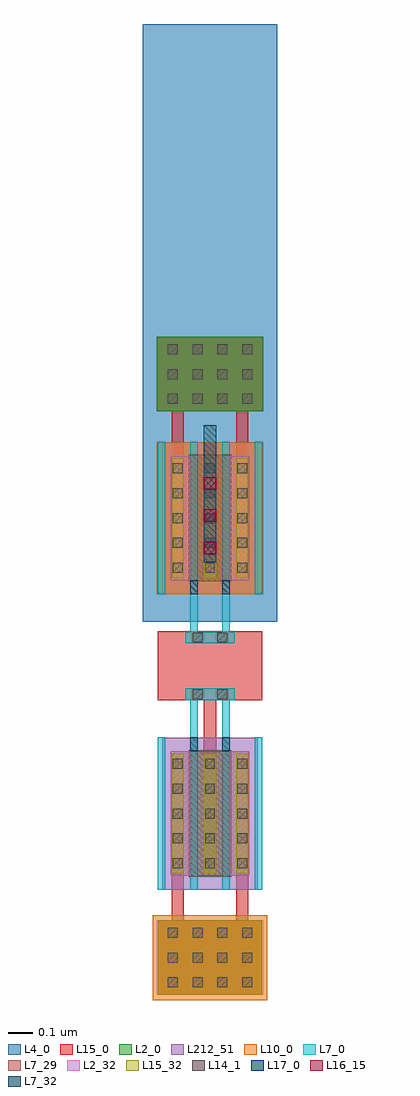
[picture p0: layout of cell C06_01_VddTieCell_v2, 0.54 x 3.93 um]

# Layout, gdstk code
import gdstk
lib = gdstk.Library(unit=1e-6, precision=1e-09)
def R(c, l, rs):  # rectangles x0, y0, x1, y1
    for r in rs: c.add(gdstk.rectangle(r[:2], r[2:], *l))
def A(c, l, x, y, w, h, nx, ny, dx, dy):  # array of equal rectangles
    R(c, l, [(x+i*dx, y+j*dy, x+i*dx+w, y+j*dy+h) for i in range(nx) for j in range(ny)])
L2_0 = (2, 0)
L2_32 = (2, 32)
L4_0 = (4, 0)
L7_0 = (7, 0)
L7_29 = (7, 29)
L7_32 = (7, 32)
L10_0 = (10, 0)
L14_1 = (14, 1)
L15_0 = (15, 0)
L15_32 = (15, 32)
L16_15 = (16, 15)
L17_0 = (17, 0)
L212_51 = (212, 51)

c06_01_vddtiecell_v2_srf = lib.new_cell('C06_01_VddTieCell_v2:SRF_TieCellNMOSRouted:SRF_Nmos:SRF_Gate_ViaM0Mx:SRF_ViaM0M1')
R(c06_01_vddtiecell_v2_srf, L7_0, [(-0.01,-0.004,0.15,0.044)])
R(c06_01_vddtiecell_v2_srf, L14_1, [(0,0,0.04,0.04), (0.1,0,0.14,0.04)])
R(c06_01_vddtiecell_v2_srf, L15_0, [(-0.021,-0.005,0.161,0.045)])

c_c06_01_vddtiecell_v2_srf = lib.new_cell('C06_01_VddTieCell_v2:SRF_TieCellNMOSRouted:SRF_Nmos:SRF_Gate_ViaM0Mx')
c_c06_01_vddtiecell_v2_srf.add(gdstk.Reference(c06_01_vddtiecell_v2_srf, (-0.07,-0.02)))

c_c06_01_vddtiecell_v2_srf_ = lib.new_cell('C06_01_VddTieCell_v2:SRF_TieCellNMOSRouted:SRF_Nmos')
R(c_c06_01_vddtiecell_v2_srf_, L2_0, [(-0.078,0.057,0.238,0.557)])
R(c_c06_01_vddtiecell_v2_srf_, L2_32, [(-0.078,0.057,0,0.557), (0.16,0.057,0.238,0.557)])
A(c_c06_01_vddtiecell_v2_srf_, L7_0, -0.13, 0, 0.03, 0.614, 4, 1, 0.13, 0)
R(c_c06_01_vddtiecell_v2_srf_, L7_0, [(0,0.614,0.03,0.764), (0.13,0.614,0.16,0.764), (-0.02,0.764,0.18,0.812)])
R(c_c06_01_vddtiecell_v2_srf_, L7_29, [(-0.005,0.052,0.165,0.562)])
R(c_c06_01_vddtiecell_v2_srf_, L7_32, [(0,0.557,0.03,0.614), (0.13,0.557,0.16,0.614)])
A(c_c06_01_vddtiecell_v2_srf_, L14_1, -0.07, 0.087, 0.04, 0.04, 3, 5, 0.13, 0.1)
R(c_c06_01_vddtiecell_v2_srf_, L15_0, [(-0.075,0.066,-0.025,0.548), (-0.075,0.066,-0.025,0.548), (0.055,0.066,0.105,0.548), (0.055,0.066,0.105,0.548), (0.185,0.066,0.235,0.548), (0.185,0.066,0.235,0.548), (-0.031,0.763,0.191,0.813)])
A(c_c06_01_vddtiecell_v2_srf_, L15_32, -0.075, 0.066, 0.05, 0.482, 3, 1, 0.13, 0)
R(c_c06_01_vddtiecell_v2_srf_, L212_51, [(-0.113,0.001,0.273,0.613)])
c_c06_01_vddtiecell_v2_srf_.add(gdstk.Reference(c_c06_01_vddtiecell_v2_srf, (0.08,0.788)))

c_c06_01_vddtiecell_v2_srf__ = lib.new_cell('C06_01_VddTieCell_v2:SRF_TieCellNMOSRouted')
c_c06_01_vddtiecell_v2_srf__.add(gdstk.Reference(c_c06_01_vddtiecell_v2_srf_, (0,0)))

c_c06_01_vddtiecell_v2_srf___ = lib.new_cell('C06_01_VddTieCell_v2:SRF_TieCellPMOSRouted:SRF_Pmos:SRF_Drain_ViaM1M2:SRF_ViaM1M2')
R(c_c06_01_vddtiecell_v2_srf___, L15_0, [(0,-0.292,0.05,0.082)])
A(c_c06_01_vddtiecell_v2_srf___, L16_15, 0, -0.26, 0.05, 0.05, 1, 3, 0, 0.13)
R(c_c06_01_vddtiecell_v2_srf___, L17_0, [(0,-0.292,0.05,0.082)])

c_c06_01_vddtiecell_v2_srf____ = lib.new_cell('C06_01_VddTieCell_v2:SRF_TieCellPMOSRouted:SRF_Pmos:SRF_Drain_ViaM1M2')
c_c06_01_vddtiecell_v2_srf____.add(gdstk.Reference(c_c06_01_vddtiecell_v2_srf___, (-0.025,0.105)))

c_c06_01_vddtiecell_v2_srf_____ = lib.new_cell('C06_01_VddTieCell_v2:SRF_TieCellPMOSRouted:SRF_Pmos:SRF_Gate_ViaM0Mx:SRF_ViaM0M1')
R(c_c06_01_vddtiecell_v2_srf_____, L7_0, [(-0.01,-0.004,0.15,0.044)])
R(c_c06_01_vddtiecell_v2_srf_____, L14_1, [(0,0,0.04,0.04), (0.1,0,0.14,0.04)])
R(c_c06_01_vddtiecell_v2_srf_____, L15_0, [(-0.021,-0.005,0.161,0.045)])

c_c06_01_vddtiecell_v2_srf______ = lib.new_cell('C06_01_VddTieCell_v2:SRF_TieCellPMOSRouted:SRF_Pmos:SRF_Gate_ViaM0Mx')
c_c06_01_vddtiecell_v2_srf______.add(gdstk.Reference(c_c06_01_vddtiecell_v2_srf_____, (-0.07,-0.02)))

c_c06_01_vddtiecell_v2_srf_______ = lib.new_cell('C06_01_VddTieCell_v2:SRF_TieCellPMOSRouted:SRF_Pmos')
R(c_c06_01_vddtiecell_v2_srf_______, L2_0, [(-0.078,0.057,0.238,0.557)])
R(c_c06_01_vddtiecell_v2_srf_______, L2_32, [(-0.078,0.057,0,0.557), (0.16,0.057,0.238,0.557)])
A(c_c06_01_vddtiecell_v2_srf_______, L7_0, -0.13, 0, 0.03, 0.614, 4, 1, 0.13, 0)
R(c_c06_01_vddtiecell_v2_srf_______, L7_0, [(-0.02,-0.198,0.18,-0.15), (0,-0.15,0.03,0), (0.13,-0.15,0.16,0)])
R(c_c06_01_vddtiecell_v2_srf_______, L7_29, [(-0.005,0.052,0.165,0.562)])
R(c_c06_01_vddtiecell_v2_srf_______, L7_32, [(0,0,0.03,0.057), (0.13,0,0.16,0.057)])
R(c_c06_01_vddtiecell_v2_srf_______, L10_0, [(-0.134,0.001,0.294,0.613)])
A(c_c06_01_vddtiecell_v2_srf_______, L14_1, -0.07, 0.087, 0.04, 0.04, 3, 5, 0.13, 0.1)
R(c_c06_01_vddtiecell_v2_srf_______, L15_0, [(-0.031,-0.199,0.191,-0.149), (-0.075,0.066,-0.025,0.548), (-0.075,0.066,-0.025,0.548), (0.055,0.066,0.105,0.548), (0.055,0.066,0.105,0.548), (0.185,0.066,0.235,0.548), (0.185,0.066,0.235,0.548)])
A(c_c06_01_vddtiecell_v2_srf_______, L15_32, -0.075, 0.066, 0.05, 0.482, 3, 1, 0.13, 0)
R(c_c06_01_vddtiecell_v2_srf_______, L17_0, [(0.055,0.13,0.105,0.63), (0.055,0.63,0.105,0.68)])
R(c_c06_01_vddtiecell_v2_srf_______, L212_51, [(-0.113,0.001,0.273,0.613)])
c_c06_01_vddtiecell_v2_srf_______.add(gdstk.Reference(c_c06_01_vddtiecell_v2_srf____, (0.08,0.317)))
c_c06_01_vddtiecell_v2_srf_______.add(gdstk.Reference(c_c06_01_vddtiecell_v2_srf______, (0.08,-0.174)))

c_c06_01_vddtiecell_v2_srf________ = lib.new_cell('C06_01_VddTieCell_v2:SRF_TieCellPMOSRouted')
c_c06_01_vddtiecell_v2_srf________.add(gdstk.Reference(c_c06_01_vddtiecell_v2_srf_______, (0,0)))

c_c06_01_vddtiecell_v2_srf_________ = lib.new_cell('C06_01_VddTieCell_v2:SRF_PMOS_Body_Contact:SRF_NbodyContactPhyLen')
R(c_c06_01_vddtiecell_v2_srf_________, L2_0, [(-0.044,-0.23,0.384,0.07)])
R(c_c06_01_vddtiecell_v2_srf_________, L4_0, [(-0.1,-0.286,0.44,0.126)])
A(c_c06_01_vddtiecell_v2_srf_________, L14_1, 0, -0.2, 0.04, 0.04, 4, 3, 0.1, 0.1)
R(c_c06_01_vddtiecell_v2_srf_________, L15_0, [(-0.044,-0.23,0.384,0.07)])

c_c06_01_vddtiecell_v2_srf__________ = lib.new_cell('C06_01_VddTieCell_v2:SRF_PMOS_Body_Contact')
c_c06_01_vddtiecell_v2_srf__________.add(gdstk.Reference(c_c06_01_vddtiecell_v2_srf_________, (0,0)))

c_c06_01_vddtiecell_v2_srf___________ = lib.new_cell('C06_01_VddTieCell_v2:SRF_NMOS_Body_Contact:SRF_PbodyContactPhyLen')
R(c_c06_01_vddtiecell_v2_srf___________, L2_0, [(-0.04,-0.23,0.38,0.07)])
R(c_c06_01_vddtiecell_v2_srf___________, L10_0, [(-0.061,-0.251,0.401,0.091)])
A(c_c06_01_vddtiecell_v2_srf___________, L14_1, 0, -0.2, 0.04, 0.04, 4, 3, 0.1, 0.1)
R(c_c06_01_vddtiecell_v2_srf___________, L15_0, [(-0.04,-0.23,0.38,0.07)])

c_c06_01_vddtiecell_v2_srf____________ = lib.new_cell('C06_01_VddTieCell_v2:SRF_NMOS_Body_Contact')
c_c06_01_vddtiecell_v2_srf____________.add(gdstk.Reference(c_c06_01_vddtiecell_v2_srf___________, (0,0)))

c06_01_vddtiecell_v2 = lib.new_cell('C06_01_VddTieCell_v2')
R(c06_01_vddtiecell_v2, L4_0, [(-0.19,1.079,0.35,1.871), (-0.19,1.079,0.35,3.487)])
R(c06_01_vddtiecell_v2, L15_0, [(-0.075,-0.123,-0.025,0.066), (0.185,-0.123,0.235,0.066), (0.055,0.548,0.105,0.763), (-0.075,1.738,-0.025,1.927), (0.185,1.738,0.235,1.927)])
c06_01_vddtiecell_v2.add(gdstk.FlexPath([(0.08,1.041),(0.08,0.763)], 0.42, ends="flush", simple_path=True, layer=15, datatype=0))  # L15_0
c06_01_vddtiecell_v2.add(gdstk.Reference(c_c06_01_vddtiecell_v2_srf__, (0,0)))
c06_01_vddtiecell_v2.add(gdstk.Reference(c_c06_01_vddtiecell_v2_srf________, (0,1.19)))
c06_01_vddtiecell_v2.add(gdstk.Reference(c_c06_01_vddtiecell_v2_srf__________, (-0.09,2.157)))
c06_01_vddtiecell_v2.add(gdstk.Reference(c_c06_01_vddtiecell_v2_srf____________, (-0.09,-0.193)))

lib.write_gds('C06_01_VddTieCell_v2.gds')
